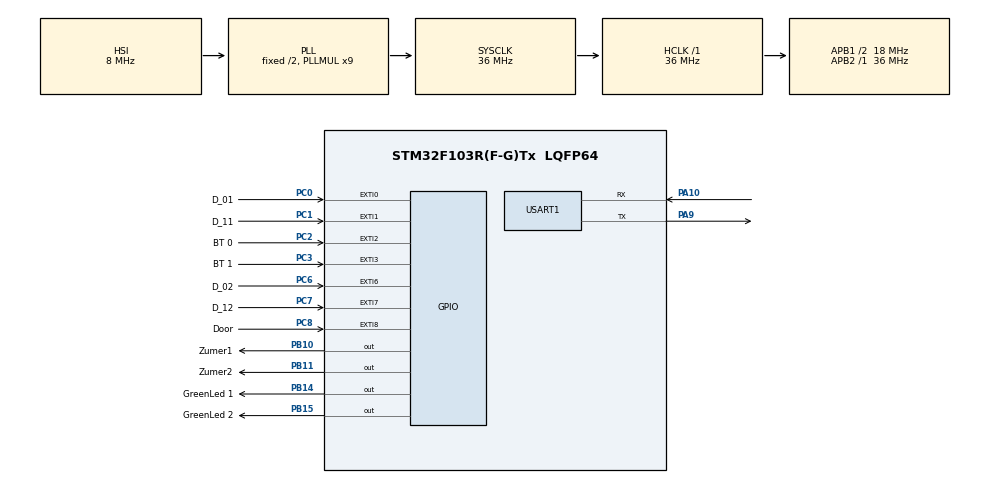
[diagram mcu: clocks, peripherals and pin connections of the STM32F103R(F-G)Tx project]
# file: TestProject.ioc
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Mcu.Family=STM32F1
Mcu.Name=STM32F103R(F-G)Tx
Mcu.Package=LQFP64
NVIC.EXTI0_IRQn=true\:0\:0\:false\:false\:true\:true\:true
NVIC.EXTI1_IRQn=true\:0\:0\:false\:false\:true\:true\:true
NVIC.EXTI2_IRQn=true\:0\:0\:false\:false\:true\:true\:true
NVIC.EXTI3_IRQn=true\:0\:0\:false\:false\:true\:true\:true
NVIC.EXTI9_5_IRQn=true\:0\:0\:false\:false\:true\:true\:true
NVIC.PriorityGroup=NVIC_PRIORITYGROUP_4
NVIC.USART1_IRQn=true\:0\:0\:false\:false\:true\:true\:true
PA10.Mode=Asynchronous
PA10.Signal=USART1_RX
PA13.Mode=JTAG_5_pins
PA13.Signal=SYS_JTMS-SWDIO
PA14.Mode=JTAG_5_pins
PA14.Signal=SYS_JTCK-SWCLK
PA15.Mode=JTAG_5_pins
PA15.Signal=SYS_JTDI
PA9.Mode=Asynchronous
PA9.Signal=USART1_TX
PB10.GPIO_Label=Zumer1
PB10.Signal=GPIO_Output
PB11.GPIO_Label=Zumer2
PB11.Signal=GPIO_Output
PB14.GPIO_Label=GreenLed 1
PB14.Signal=GPIO_Output
PB15.GPIO_Label=GreenLed 2
PB15.Signal=GPIO_Output
PB3.Mode=JTAG_5_pins
PB3.Signal=SYS_JTDO-TRACESWO
PB4.Mode=JTAG_5_pins
PB4.Signal=SYS_NJTRST
PC0.GPIO_Label=D_01
PC0.GPIO_ModeDefaultEXTI=GPIO_MODE_IT_FALLING
PC0.GPIO_PuPd=GPIO_NOPULL
PC0.Signal=GPXTI0
PC1.GPIO_Label=D_11
PC1.GPIO_ModeDefaultEXTI=GPIO_MODE_IT_FALLING
PC1.GPIO_PuPd=GPIO_NOPULL
PC1.Signal=GPXTI1
PC2.GPIO_Label=BT 0
PC2.GPIO_PuPd=GPIO_NOPULL
PC2.Signal=GPXTI2
PC3.GPIO_Label=BT 1
PC3.GPIO_PuPd=GPIO_NOPULL
PC3.Signal=GPXTI3
PC6.GPIO_Label=D_02
PC6.GPIO_ModeDefaultEXTI=GPIO_MODE_IT_FALLING
PC6.Signal=GPXTI6
PC7.GPIO_Label=D_12
PC7.GPIO_ModeDefaultEXTI=GPIO_MODE_IT_FALLING
PC7.Signal=GPXTI7
PC8.GPIO_Label=Door
PC8.GPIO_ModeDefaultEXTI=GPIO_MODE_IT_RISING_FALLING
PC8.GPIO_PuPd=GPIO_NOPULL
PC8.Signal=GPXTI8
ProjectManager.HeapSize=0x200
ProjectManager.StackSize=0x400
ProjectManager.TargetToolchain=Makefile
RCC.AHBFreq_Value=36000000
RCC.APB1CLKDivider=RCC_HCLK_DIV2
RCC.APB1Freq_Value=18000000
RCC.APB1TimFreq_Value=36000000
RCC.APB2Freq_Value=36000000
RCC.APB2TimFreq_Value=36000000
RCC.HCLKFreq_Value=36000000
RCC.PLLMUL=RCC_PLL_MUL9
RCC.SYSCLKFreq_VALUE=36000000
RCC.SYSCLKSource=RCC_SYSCLKSOURCE_PLLCLK
RCC.USBFreq_Value=36000000
USART1.VirtualMode=VM_ASYNC
board=custom

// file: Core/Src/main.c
/* USER CODE BEGIN Header */
/**
  ******************************************************************************
  * @file           : main.c
  * @brief          : Main program body
  ******************************************************************************
  * @attention
  *
  * <h2><center>&copy; Copyright (c) 2021 STMicroelectronics.
  * All rights reserved.</center></h2>
  *
  * This software component is licensed by ST under BSD 3-Clause license,
  * the "License"; You may not use this file except in compliance with the
  * License. You may obtain a copy of the License at:
  *                        opensource.org/licenses/BSD-3-Clause
  *
  ******************************************************************************
  */
/* USER CODE END Header */
#include "main.h"

/* USER CODE BEGIN Includes */
#include "string.h"
#include <stdio.h>
#include "wiegand.h"
#include <stdarg.h>
/* USER CODE END Includes */

/* USER CODE BEGIN PM */
#ifndef __cplusplus
typedef unsigned char bool;
static const bool false = 0;
static const bool true = 1;
#endif
/* USER CODE END PM */

UART_HandleTypeDef huart1;

/* USER CODE BEGIN PV */

volatile uint8_t wig_flag_inrt = 1;

/* USER CODE END PV */

void SystemClock_Config(void);
static void MX_GPIO_Init(void);
static void MX_USART1_UART_Init(void);

/* USER CODE BEGIN 0 */

  enum WorkMode
  {
    NormalMode,
    ClosedMode,
    OpenMode,
    CondOpenMode,
    TempOpenMode,
    AlarmMode
  };
  /**
   * NormalMode,
   * ClosedMode,
   * OpenMode,
   * CondOpenMode,
   * TempOpenMode,
   * AlarmMode
  */
  enum WorkMode workMode = NormalMode, previousWorkMode = NormalMode;

  enum States
  {
    OpenedState,
    ClosedState,
    NullState
  };
  /**
   * OpenedState,
   * ClosedState,
   * NullState
  */
  enum States doorState = ClosedState, relayState = ClosedState;

  enum RelayMode
  {
    Constant,
    Impulse,
    ConstantSwitch,
    Valve,
    Null
  };
  enum RelayMode relayMode = Constant;

  enum AlarmCause
  {
    OpenedDoor,
    None
  };
  enum AlarmCause alarmCause = None;

  // time ticker for verifying if 15 seconds passed to switch mode
  uint32_t timme = 0;

  // was button to open the door pressed?
  bool
  insideButtonPressed = false,
  outsideButtonPressed = false,
  insideKeyRead = false;
  outsideKeyRead = false;
  firstTime = false,
  doorRecentlyClosed = false,
  alarmTrigger = false,
  toBlink = false;

  uint32_t
  relayUnlockingTime = 0,
  timmeTrack = 0,
  blinkTime = 0;
  blinkStart = 0;

  // enum Direction
  // {
  //   IN,
  //   OUT,
  //   BOTH
  // };

  // struct Key
  // {
  //   uint32_t code;
  //   enum Direction direction;
  //   uint32_t accessTime;
  // };

  /*----> Functions Declaration <----*/

  void timeTrackEvent();
  void changeModeEvent();
  void blinkEvent();
  void intercomKeyEvent();
  void buttonPressedEvent();
  void doorUnlockEvent();
  void doorClosedEvent();
  void greenLightEvent();
  void bellEvent();
  void alarmEvent();

  bool verifyCode(uint32_t code);
  void UART_Printf(const char *fmt, ...);
  void switchMode();
  void blink();
  void unlockDoor();
  void lockDoor();
  void doorChangedState(enum States currentState);

/* USER CODE END 0 */

int main(void)
{

  /* MCU Configuration--------------------------------------------------------*/

  /* Reset of all peripherals, Initializes the Flash interface and the Systick. */
  HAL_Init();

  /* Configure the system clock */
  SystemClock_Config();

  /* Initialize all configured peripherals */
  MX_GPIO_Init();
  MX_USART1_UART_Init();

  /* Infinite loop */
  /* USER CODE BEGIN WHILE */
  while (1)
  {
    timeTrackEvent();

    changeModeEvent();

    blinkEvent();

    intercomKeyEvent();

    buttonPressedEvent();

    doorUnlockEvent();

    doorClosedEvent();

    greenLightEvent();

    bellEvent();

    alarmEvent();
    /* USER CODE END WHILE */

  }
}

void SystemClock_Config(void)
{
  RCC_OscInitTypeDef RCC_OscInitStruct = {0};
  RCC_ClkInitTypeDef RCC_ClkInitStruct = {0};

  /** Initializes the RCC Oscillators according to the specified parameters
  * in the RCC_OscInitTypeDef structure.
  */
  RCC_OscInitStruct.OscillatorType = RCC_OSCILLATORTYPE_HSI;
  RCC_OscInitStruct.HSIState = RCC_HSI_ON;
  RCC_OscInitStruct.HSICalibrationValue = RCC_HSICALIBRATION_DEFAULT;
  RCC_OscInitStruct.PLL.PLLState = RCC_PLL_ON;
  RCC_OscInitStruct.PLL.PLLSource = RCC_PLLSOURCE_HSI_DIV2;
  RCC_OscInitStruct.PLL.PLLMUL = RCC_PLL_MUL9;
  if (HAL_RCC_OscConfig(&RCC_OscInitStruct) != HAL_OK)
  {
    Error_Handler();
  }
  /** Initializes the CPU, AHB and APB buses clocks
  */
  RCC_ClkInitStruct.ClockType = RCC_CLOCKTYPE_HCLK|RCC_CLOCKTYPE_SYSCLK
                              |RCC_CLOCKTYPE_PCLK1|RCC_CLOCKTYPE_PCLK2;
  RCC_ClkInitStruct.SYSCLKSource = RCC_SYSCLKSOURCE_PLLCLK;
  RCC_ClkInitStruct.AHBCLKDivider = RCC_SYSCLK_DIV1;
  RCC_ClkInitStruct.APB1CLKDivider = RCC_HCLK_DIV2;
  RCC_ClkInitStruct.APB2CLKDivider = RCC_HCLK_DIV1;

  if (HAL_RCC_ClockConfig(&RCC_ClkInitStruct, FLASH_LATENCY_1) != HAL_OK)
  {
    Error_Handler();
  }
}

static void MX_USART1_UART_Init(void)
{

  huart1.Instance = USART1;
  huart1.Init.BaudRate = 115200;
  huart1.Init.WordLength = UART_WORDLENGTH_8B;
  huart1.Init.StopBits = UART_STOPBITS_1;
  huart1.Init.Parity = UART_PARITY_NONE;
  huart1.Init.Mode = UART_MODE_TX_RX;
  huart1.Init.HwFlowCtl = UART_HWCONTROL_NONE;
  huart1.Init.OverSampling = UART_OVERSAMPLING_16;
  if (HAL_UART_Init(&huart1) != HAL_OK)
  {
    Error_Handler();
  }

}

static void MX_GPIO_Init(void)
{
  GPIO_InitTypeDef GPIO_InitStruct = {0};

  /* GPIO Ports Clock Enable */
  __HAL_RCC_GPIOC_CLK_ENABLE();
  __HAL_RCC_GPIOB_CLK_ENABLE();
  __HAL_RCC_GPIOA_CLK_ENABLE();

  /*Configure GPIO pin Output Level */
  HAL_GPIO_WritePin(GPIOB, Zumer1_Pin|Zumer2_Pin|GreenLed_1_Pin|GreenLed_2_Pin, GPIO_PIN_RESET);

  /*Configure GPIO pins : D_01_Pin D_11_Pin D_02_Pin D_12_Pin */
  GPIO_InitStruct.Pin = D_01_Pin|D_11_Pin|D_02_Pin|D_12_Pin;
  GPIO_InitStruct.Mode = GPIO_MODE_IT_FALLING;
  GPIO_InitStruct.Pull = GPIO_NOPULL;
  HAL_GPIO_Init(GPIOC, &GPIO_InitStruct);

  /*Configure GPIO pins : BT_0_Pin BT_1_Pin */
  GPIO_InitStruct.Pin = BT_0_Pin|BT_1_Pin;
  GPIO_InitStruct.Mode = GPIO_MODE_IT_RISING;
  GPIO_InitStruct.Pull = GPIO_NOPULL;
  HAL_GPIO_Init(GPIOC, &GPIO_InitStruct);

  /*Configure GPIO pins : Zumer1_Pin Zumer2_Pin GreenLed_1_Pin GreenLed_2_Pin */
  GPIO_InitStruct.Pin = Zumer1_Pin|Zumer2_Pin|GreenLed_1_Pin|GreenLed_2_Pin;
  GPIO_InitStruct.Mode = GPIO_MODE_OUTPUT_PP;
  GPIO_InitStruct.Pull = GPIO_NOPULL;
  GPIO_InitStruct.Speed = GPIO_SPEED_FREQ_LOW;
  HAL_GPIO_Init(GPIOB, &GPIO_InitStruct);

  /*Configure GPIO pin : Door_Pin */
  GPIO_InitStruct.Pin = Door_Pin;
  GPIO_InitStruct.Mode = GPIO_MODE_IT_RISING_FALLING;
  GPIO_InitStruct.Pull = GPIO_NOPULL;
  HAL_GPIO_Init(Door_GPIO_Port, &GPIO_InitStruct);

  /* EXTI interrupt init*/
  HAL_NVIC_SetPriority(EXTI0_IRQn, 0, 0);
  HAL_NVIC_EnableIRQ(EXTI0_IRQn);

  HAL_NVIC_SetPriority(EXTI1_IRQn, 0, 0);
  HAL_NVIC_EnableIRQ(EXTI1_IRQn);

  HAL_NVIC_SetPriority(EXTI2_IRQn, 0, 0);
  HAL_NVIC_EnableIRQ(EXTI2_IRQn);

  HAL_NVIC_SetPriority(EXTI3_IRQn, 0, 0);
  HAL_NVIC_EnableIRQ(EXTI3_IRQn);

  HAL_NVIC_SetPriority(EXTI9_5_IRQn, 0, 0);
  HAL_NVIC_EnableIRQ(EXTI9_5_IRQn);

}

/* USER CODE BEGIN 4 */

/* Events */

void timeTrackEvent()
{
  if((HAL_GetTick() - timmeTrack) > 1000)
  {
    UART_Printf("Time passed: %d\r\n", (HAL_GetTick() - timme));
    timmeTrack = HAL_GetTick();
  }
}

/**
  * @brief Event for acting when it is time to change modes
  * @retval None
*/
void changeModeEvent()
{
  if( (HAL_GetTick() - timme) > 15000 )
  {
    switchMode();
    timme = HAL_GetTick();
  }
}

void blinkEvent()
{
  if(toBlink && (HAL_GetTick() - blinkStart) > blinkTime)
  {
    HAL_GPIO_WritePin(GreenLed_1_GPIO_Port, GreenLed_1_Pin, SET);
    HAL_GPIO_WritePin(GreenLed_2_GPIO_Port, GreenLed_2_Pin, SET);
    toBlink = false;
  }
}

/**
 * @brief Event for acting when intercom key was inserted
 * @retval None
*/
void intercomKeyEvent()
{
  if(wig_available())
  {
    if(insideKeyRead)
      UART_Printf("Inside reader was used.\r\n");

    if(outsideKeyRead)
      UART_Printf("Outside reader was used.\r\n");

    switch(workMode)
    {
      case NormalMode:
        unlockRelay();
        break;

      case ClosedMode:
        break;

      case OpenMode:
      case TempOpenMode:
        blink(100);
        break;

      case CondOpenMode:
        workMode = OpenMode;
        unlockRelay();
        break;

      default:
        break;
    }
  }
}

/**
 * @brief Event for acting when a button to open the door was pressed
 * @retval None
*/
void buttonPressedEvent()
{
  if(insideButtonPressed)
    UART_Printf("Inside button was pressed.\r\n");

  if(outsideButtonPressed)
    UART_Printf("Outside button was pressed.\r\n");

  if(outsideButtonPressed || insideButtonPressed)
  {
    switch(workMode)
    {
      case NormalMode:
      case ClosedMode:
        unlockRelay();
        break;

      case OpenMode:
      case TempOpenMode:
        blink(100);
        break;

      case CondOpenMode:
        workMode = OpenMode;
        HAL_GPIO_WritePin(GreenLed_1_GPIO_Port, GreenLed_1_Pin, RESET);
        HAL_GPIO_WritePin(GreenLed_2_GPIO_Port, GreenLed_2_Pin, RESET);
        break;

      default:
        break;
    }
    outsideButtonPressed = false;
    insideButtonPressed = false;
  }
}

void doorUnlockEvent()
{
  if(doorRecentlyClosed)
  {
    lockDoor();
    doorRecentlyClosed = false;
  }

  if((HAL_GetTick() - relayUnlockingTime) > 10000 && !doorRecentlyClosed)
  {
    alarmCause = OpenedDoor;
  }
  else if(doorState == ClosedState)
  {
    alarmCause = None;
  }
}

void doorClosedEvent()
{
  if(doorState == ClosedState)
  {
    //relay closing mechanics
    relayState == ClosedState;
  }
}

void greenLightEvent()
{
  switch(relayState)
  {
    case ClosedState:
      HAL_GPIO_WritePin(GreenLed_1_GPIO_Port, GreenLed_1_Pin, SET);
      HAL_GPIO_WritePin(GreenLed_2_GPIO_Port, GreenLed_2_Pin, SET);
      break;
    case OpenedState:
      HAL_GPIO_WritePin(GreenLed_1_GPIO_Port, GreenLed_1_Pin, RESET);
      HAL_GPIO_WritePin(GreenLed_2_GPIO_Port, GreenLed_2_Pin, RESET);
      break;
    default:
      UART_Printf("Unknown relay state.\r\n");
  }
}

void bellEvent()
{

}

void alarmEvent()
{

}

/* Aux functions */

void HAL_GPIO_EXTI_Callback(uint16_t GPIO_Pin)
{
  switch(GPIO_Pin)
  {
    case BT_0_Pin:
      insideButtonPressed = true;
      break;

    case BT_1_Pin:
      outsideButtonPressed = true;
      break;

    case Door_Pin:
      if(HAL_GPIO_ReadPin(Door_GPIO_Port, Door_Pin) == 0)
      {
        doorState = OpenedState;
      }
      else if(HAL_GPIO_ReadPin(Door_GPIO_Port, Door_Pin) == 1)
      {
        doorState = ClosedState;
        doorRecentlyClosed = true;
      }
      break;

    case D_01_Pin:
      if(wig_flag_inrt)
      {
        ReadD0();
        insideKeyRead = true;
      }
      break;

    case D_11_Pin:
      if(wig_flag_inrt)
      {
        ReadD1();
        insideKeyRead = true;
      }
      break;

    case D_02_Pin:
      if(wig_flag_inrt)
      {
        ReadD0();
        outsideKeyRead = true;
      }
      break;

    case D_12_Pin:
      if(wig_flag_inrt)
      {
        ReadD1();
        outsideKeyRead = true;
      }
      break;

    default:
      break;
  }
}

/**
  @brief Verify if intercom code is valid
  @param code Intercom code to verify
  @retval bool value
*/
bool verifyCode(uint32_t code)
{
  uint32_t codes[] = {
    12563593
  };

  for(int i = 0; i < sizeof(codes)/sizeof(codes[0]); i++){
    if(code == codes[i])
      return true;
  }

  return false;
}

/**
  @brief Print a string to the terminal
*/
void UART_Printf(const char *fmt, ...)
{
  char buff[256];
  va_list args;
  va_start(args, fmt);
  vsnprintf(buff, sizeof(buff), fmt, args);
  HAL_UART_Transmit(&huart1, (uint8_t *)buff, strlen(buff), HAL_MAX_DELAY);
  va_end(args);
}

/**
  * @brief If mode is not 3, increment it. If it is, set mode to 0
*/
void switchMode()
{
  if(workMode < 3)
  {
    workMode++;
  }
  else if(workMode == 3)
  {
    workMode = 0;
  }
  else
  {
    UART_Printf("Mode is higher than 3. \r\n");
  }

  if(workMode == 2)
  {
    HAL_GPIO_WritePin(GreenLed_1_GPIO_Port, GreenLed_1_Pin, RESET);
    HAL_GPIO_WritePin(GreenLed_2_GPIO_Port, GreenLed_2_Pin, RESET);
  }

  UART_Printf("Switched to mode %d\r\n", workMode);

  return;
}

void blink(uint16_t blinkDurration)
{
  toBlink = true;
  blinkTime = blinkDurration;
  blinkStart = HAL_GetTick();
  HAL_GPIO_WritePin(GreenLed_1_GPIO_Port, GreenLed_1_Pin, RESET);
  HAL_GPIO_WritePin(GreenLed_2_GPIO_Port, GreenLed_2_Pin, RESET);
}

void unlockRelay()
{
  UART_Printf("Unlocked the door.\r\n");
  // relay opening mechanics
  relayUnlockingTime = HAL_GetTick();
  relayState = OpenedState;
  // previousWorkMode = workMode;
  // workMode = 4;
}

void lockDoor()
{
  if(doorState == ClosedState)
  {
    HAL_GPIO_WritePin(GPIOB, GreenLed_1_Pin, SET);
    HAL_GPIO_WritePin(GPIOB, GreenLed_2_Pin, SET);
  }
  else
  {
    UART_Printf("Error. Door is not closed\r\n");
  }
}
/* USER CODE END 4 */

void Error_Handler(void)
{
  __disable_irq();
  while (1)
  {
  }
}

/************************ (C) COPYRIGHT STMicroelectronics *****END OF FILE****/
